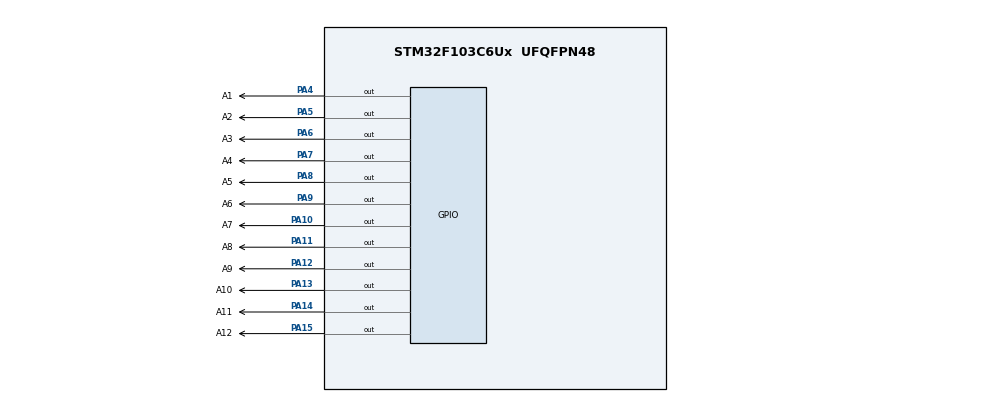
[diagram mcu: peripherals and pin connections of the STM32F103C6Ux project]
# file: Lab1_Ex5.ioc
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Mcu.Family=STM32F1
Mcu.Name=STM32F103C6Ux
Mcu.Package=UFQFPN48
NVIC.PriorityGroup=NVIC_PRIORITYGROUP_4
PA10.GPIO_Label=A7
PA10.Signal=GPIO_Output
PA11.GPIO_Label=A8
PA11.Signal=GPIO_Output
PA12.GPIO_Label=A9
PA12.Signal=GPIO_Output
PA13.GPIO_Label=A10
PA13.Signal=GPIO_Output
PA14.GPIO_Label=A11
PA14.Signal=GPIO_Output
PA15.GPIO_Label=A12
PA15.Signal=GPIO_Output
PA4.GPIO_Label=A1
PA4.Signal=GPIO_Output
PA5.GPIO_Label=A2
PA5.Signal=GPIO_Output
PA6.GPIO_Label=A3
PA6.Signal=GPIO_Output
PA7.GPIO_Label=A4
PA7.Signal=GPIO_Output
PA8.GPIO_Label=A5
PA8.Signal=GPIO_Output
PA9.GPIO_Label=A6
PA9.Signal=GPIO_Output
ProjectManager.HeapSize=0x200
ProjectManager.StackSize=0x400
ProjectManager.TargetToolchain=STM32CubeIDE
RCC.APB1Freq_Value=8000000
RCC.APB2Freq_Value=8000000
VP_SYS_VS_ND.Mode=No_Debug
board=custom

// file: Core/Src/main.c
/* USER CODE BEGIN Header */
/**
  ******************************************************************************
  * @file           : main.c
  * @brief          : Main program body
  ******************************************************************************
  * @attention
  *
  * <h2><center>&copy; Copyright (c) 2025 STMicroelectronics.
  * All rights reserved.</center></h2>
  *
  * This software component is licensed by ST under BSD 3-Clause license,
  * the "License"; You may not use this file except in compliance with the
  * License. You may obtain a copy of the License at:
  *                        opensource.org/licenses/BSD-3-Clause
  *
  ******************************************************************************
  */
/* USER CODE END Header */
#include "main.h"

/* USER CODE BEGIN PV */

int h = 0;
int m = 0;
int s = 0;

//int prevH = 0;
//int prevM = 0;
//int prevS = 0;

/* USER CODE END PV */

void SystemClock_Config(void);
static void MX_GPIO_Init(void);
/* USER CODE BEGIN PFP */
void clearAllClock();
void setNumberOnClock(int num);
void clearNumberOnClock(int num);
/* USER CODE END PFP */

int main(void)
{

  /* MCU Configuration--------------------------------------------------------*/

  /* Reset of all peripherals, Initializes the Flash interface and the Systick. */
  HAL_Init();

  /* Configure the system clock */
  SystemClock_Config();

  /* Initialize all configured peripherals */
  MX_GPIO_Init();
  /* USER CODE BEGIN 2 */
  clearAllClock();
  /* USER CODE END 2 */

  /* Infinite loop */
  /* USER CODE BEGIN WHILE */
  while (1)
  {
	  //tinh pos hien tai
	  int curS = (s / 5);
	  int curM = (m / 5);
	  int curH = h;

	  //bat led len truoc
	  setNumberOnClock(curS);
	  setNumberOnClock(curM);
	  setNumberOnClock(curH);

	  //tinh pos truoc do
	  int prevS = ((s == 0) ? 59 : (s - 1)) / 5;
	  int prevM = ((m == 0) ? 59 : (m - 1)) / 5;
	  int prevH = (h == 0) ? 11 : (h - 1);

	  //clear khi khong co led cua kim khac bat dang sau
	  if (prevS != curS && prevS != curM && prevS != curH) clearNumberOnClock(prevS);
	  if (prevM != curS && prevM != curM && prevM != curH) clearNumberOnClock(prevM);
	  if (prevH != curS && prevH != curM && prevH != curH) clearNumberOnClock(prevH);

	  //xu ly thgian
	  s++;
	  if (s >= 60) {
		  s = 0;
		  m++;
	  }

	  if (m >= 60) {
		  m = 0;
		  h++;
	  }

	  if (h >= 12) {
		  h = 0;
	  }

	  HAL_Delay(100);

    /* USER CODE END WHILE */

  }
}

void SystemClock_Config(void)
{
  RCC_OscInitTypeDef RCC_OscInitStruct = {0};
  RCC_ClkInitTypeDef RCC_ClkInitStruct = {0};

  /** Initializes the RCC Oscillators according to the specified parameters
  * in the RCC_OscInitTypeDef structure.
  */
  RCC_OscInitStruct.OscillatorType = RCC_OSCILLATORTYPE_HSI;
  RCC_OscInitStruct.HSIState = RCC_HSI_ON;
  RCC_OscInitStruct.HSICalibrationValue = RCC_HSICALIBRATION_DEFAULT;
  RCC_OscInitStruct.PLL.PLLState = RCC_PLL_NONE;
  if (HAL_RCC_OscConfig(&RCC_OscInitStruct) != HAL_OK)
  {
    Error_Handler();
  }
  /** Initializes the CPU, AHB and APB buses clocks
  */
  RCC_ClkInitStruct.ClockType = RCC_CLOCKTYPE_HCLK|RCC_CLOCKTYPE_SYSCLK
                              |RCC_CLOCKTYPE_PCLK1|RCC_CLOCKTYPE_PCLK2;
  RCC_ClkInitStruct.SYSCLKSource = RCC_SYSCLKSOURCE_HSI;
  RCC_ClkInitStruct.AHBCLKDivider = RCC_SYSCLK_DIV1;
  RCC_ClkInitStruct.APB1CLKDivider = RCC_HCLK_DIV1;
  RCC_ClkInitStruct.APB2CLKDivider = RCC_HCLK_DIV1;

  if (HAL_RCC_ClockConfig(&RCC_ClkInitStruct, FLASH_LATENCY_0) != HAL_OK)
  {
    Error_Handler();
  }
}

static void MX_GPIO_Init(void)
{
  GPIO_InitTypeDef GPIO_InitStruct = {0};

  /* GPIO Ports Clock Enable */
  __HAL_RCC_GPIOA_CLK_ENABLE();

  /*Configure GPIO pin Output Level */
  HAL_GPIO_WritePin(GPIOA, A1_Pin|A2_Pin|A3_Pin|A4_Pin
                          |A5_Pin|A6_Pin|A7_Pin|A8_Pin
                          |A9_Pin|A10_Pin|A11_Pin|A12_Pin, GPIO_PIN_RESET);

  /*Configure GPIO pins : A1_Pin A2_Pin A3_Pin A4_Pin
                           A5_Pin A6_Pin A7_Pin A8_Pin
                           A9_Pin A10_Pin A11_Pin A12_Pin */
  GPIO_InitStruct.Pin = A1_Pin|A2_Pin|A3_Pin|A4_Pin
                          |A5_Pin|A6_Pin|A7_Pin|A8_Pin
                          |A9_Pin|A10_Pin|A11_Pin|A12_Pin;
  GPIO_InitStruct.Mode = GPIO_MODE_OUTPUT_PP;
  GPIO_InitStruct.Pull = GPIO_NOPULL;
  GPIO_InitStruct.Speed = GPIO_SPEED_FREQ_LOW;
  HAL_GPIO_Init(GPIOA, &GPIO_InitStruct);

}

/* USER CODE BEGIN 4 */

void  clearAllClock() {
	HAL_GPIO_WritePin(A1_GPIO_Port, A1_Pin, SET);
	HAL_GPIO_WritePin(A2_GPIO_Port, A2_Pin, SET);
	HAL_GPIO_WritePin(A3_GPIO_Port, A3_Pin, SET);
	HAL_GPIO_WritePin(A4_GPIO_Port, A4_Pin, SET);
	HAL_GPIO_WritePin(A5_GPIO_Port, A5_Pin, SET);
	HAL_GPIO_WritePin(A6_GPIO_Port, A6_Pin, SET);
	HAL_GPIO_WritePin(A7_GPIO_Port, A7_Pin, SET);
	HAL_GPIO_WritePin(A8_GPIO_Port, A8_Pin, SET);
	HAL_GPIO_WritePin(A9_GPIO_Port, A9_Pin, SET);
	HAL_GPIO_WritePin(A10_GPIO_Port, A10_Pin, SET);
	HAL_GPIO_WritePin(A11_GPIO_Port, A11_Pin, SET);
	HAL_GPIO_WritePin(A12_GPIO_Port, A12_Pin, SET);

	h = 0;
	m = 0;
	s = 0;
}

void setNumberOnClock(int num) {
	if (num == 1) HAL_GPIO_WritePin(A1_GPIO_Port, A1_Pin, RESET);
	if (num == 2) HAL_GPIO_WritePin(A2_GPIO_Port, A2_Pin, RESET);
	if (num == 3) HAL_GPIO_WritePin(A3_GPIO_Port, A3_Pin, RESET);
	if (num == 4) HAL_GPIO_WritePin(A4_GPIO_Port, A4_Pin, RESET);
	if (num == 5) HAL_GPIO_WritePin(A5_GPIO_Port, A5_Pin, RESET);
	if (num == 6) HAL_GPIO_WritePin(A6_GPIO_Port, A6_Pin, RESET);
	if (num == 7) HAL_GPIO_WritePin(A7_GPIO_Port, A7_Pin, RESET);
	if (num == 8) HAL_GPIO_WritePin(A8_GPIO_Port, A8_Pin, RESET);
	if (num == 9) HAL_GPIO_WritePin(A9_GPIO_Port, A9_Pin, RESET);
	if (num == 10) HAL_GPIO_WritePin(A10_GPIO_Port, A10_Pin, RESET);
	if (num == 11) HAL_GPIO_WritePin(A11_GPIO_Port, A11_Pin, RESET);
	if (num == 12 || num == 0) HAL_GPIO_WritePin(A12_GPIO_Port, A12_Pin, RESET);
}

void clearNumberOnClock(int num) {
	if (num == 1) HAL_GPIO_WritePin(A1_GPIO_Port, A1_Pin, SET);
	if (num == 2) HAL_GPIO_WritePin(A2_GPIO_Port, A2_Pin, SET);
	if (num == 3) HAL_GPIO_WritePin(A3_GPIO_Port, A3_Pin, SET);
	if (num == 4) HAL_GPIO_WritePin(A4_GPIO_Port, A4_Pin, SET);
	if (num == 5) HAL_GPIO_WritePin(A5_GPIO_Port, A5_Pin, SET);
	if (num == 6) HAL_GPIO_WritePin(A6_GPIO_Port, A6_Pin, SET);
	if (num == 7) HAL_GPIO_WritePin(A7_GPIO_Port, A7_Pin, SET);
	if (num == 8) HAL_GPIO_WritePin(A8_GPIO_Port, A8_Pin, SET);
	if (num == 9) HAL_GPIO_WritePin(A9_GPIO_Port, A9_Pin, SET);
	if (num == 10) HAL_GPIO_WritePin(A10_GPIO_Port, A10_Pin, SET);
	if (num == 11) HAL_GPIO_WritePin(A11_GPIO_Port, A11_Pin, SET);
	if (num == 12 || num == 0) HAL_GPIO_WritePin(A12_GPIO_Port, A12_Pin, SET);
}

/* USER CODE END 4 */

void Error_Handler(void)
{
  __disable_irq();
  while (1)
  {
  }
}

/************************ (C) COPYRIGHT STMicroelectronics *****END OF FILE****/
